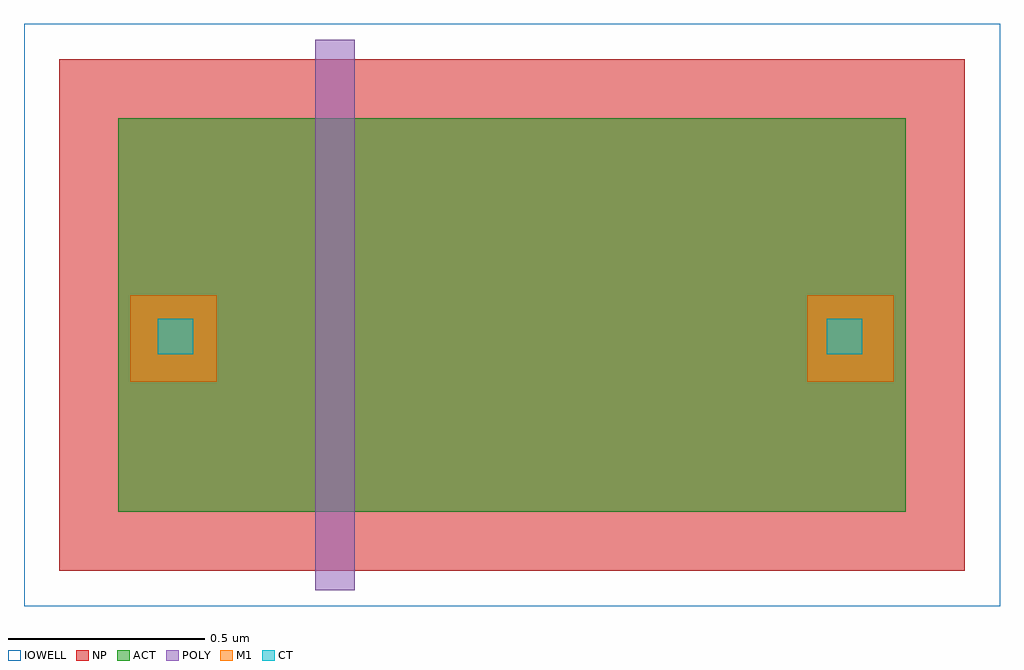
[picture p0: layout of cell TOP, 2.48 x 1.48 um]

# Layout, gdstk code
import gdstk
lib = gdstk.Library(unit=1e-6, precision=1e-09)
def R(c, l, rs):  # rectangles x0, y0, x1, y1
    for r in rs: c.add(gdstk.rectangle(r[:2], r[2:], *l))
ACT = (2, 1)
IOWELL = (28, 1)
POLY = (41, 1)
NP = (52, 1)
CT = (72, 1)
M1 = (81, 1)

top = lib.new_cell('TOP')
R(top, ACT, [(0,0,2,1)])
R(top, IOWELL, [(-0.24,-0.24,2.24,1.24)])
R(top, POLY, [(0.5,-0.2,0.6,1.2)])
R(top, NP, [(-0.15,-0.15,2.15,1.15)])
R(top, CT, [(0.1,0.4,0.19,0.49), (1.8,0.4,1.89,0.49)])
R(top, M1, [(0.03,0.33,0.25,0.55), (1.75,0.33,1.97,0.55)])

lib.write_gds('TOP.gds')
